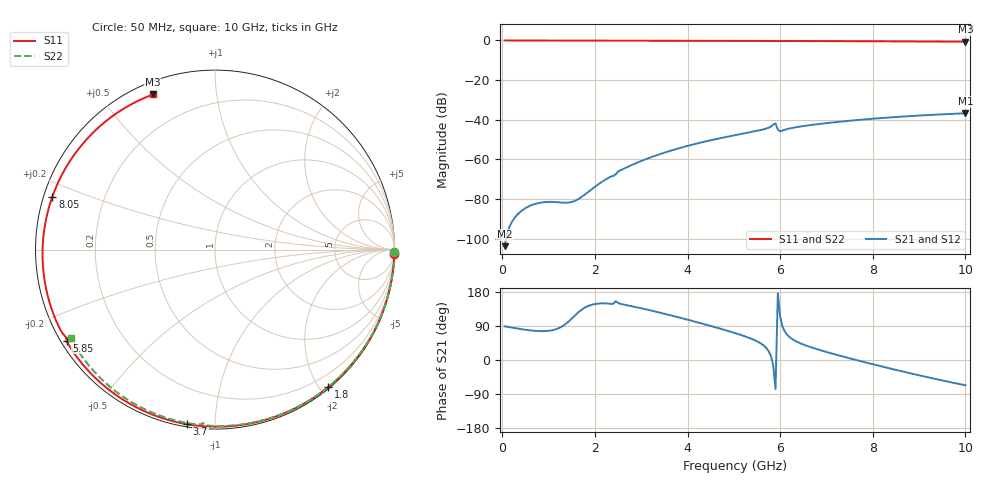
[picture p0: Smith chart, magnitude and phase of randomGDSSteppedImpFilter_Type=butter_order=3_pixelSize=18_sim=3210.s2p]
! freq	dB(S11)	phase(S11)	dB(S12)	phase(S12)
!  dB(S21)	phase(S21)	dB(S22)	phase(S22)
!S-par simulation data
#  GHz  S  DB  R 50
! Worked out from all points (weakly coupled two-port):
!   200 points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, 50 MHz to 10 GHz, reference 50 ohm
!   highest |S21| = -36.73 dB at 10 GHz (marker M1); lowest = -103.7 dB at 50 MHz (marker M2)
!   lowest |S11| = -0.6 dB at 10 GHz (marker M3), VSWR 27.98, Z = 2.6 + j33.8 ohm
!   |S11| at or under -10 dB: nowhere
!   |S22| runs from -0.5 to 0.0 dB; largest |S21 - S12| = 0
!   S11 on the Smith chart (normalised r, x): 50 MHz: 0, -79; 1.8 GHz: 0.02, -2.11; 3.7 GHz: 0.01, -0.85; 5.85 GHz: 0.02, -0.28; 8.05 GHz: 0.02, +0.16; 10 GHz: 0.05, +0.68
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0.05  -0.00 -1.5  -103.74 88.9  -103.74 88.9  -0.00 -0.9
0.8  -0.03 -22.9  -81.91 76.2  -81.91 76.2  -0.02 -13.7
1.6  -0.06 -45.2  -80.54 121.3  -80.54 121.3  -0.03 -27.2
1.75  -0.06 -49.3  -78.28 135.8  -78.28 135.8  -0.04 -29.7
1.8  -0.06 -50.6  -77.40 139.4  -77.40 139.4  -0.04 -30.5
2.45  -0.09 -67.9  -67.48 155.4  -67.48 155.4  -0.05 -41.2
2.5  -0.09 -69.2  -66.09 150.7  -66.09 150.7  -0.05 -42.1
3.4  -0.12 -91.8  -57.35 125.1  -57.35 125.1  -0.08 -56.4
3.7  -0.13 -99.1  -55.14 116.0  -55.14 116.0  -0.08 -61.1
4.35  -0.16 -114.4  -51.14 94.9  -51.14 94.9  -0.10 -71.1
5.05  -0.19 -130.3  -47.66 70.1  -47.66 70.1  -0.13 -81.5
5.65  -0.23 -143.8  -44.77 37.7  -44.77 37.7  -0.15 -90.2
5.85  -0.27 -148.5  -42.49 -14.2  -42.49 -14.2  -0.20 -93.4
5.9  -0.32 -149.5  -41.84 -76.7  -41.84 -76.7  -0.29 -94.0
5.95  -0.31 -150.1  -45.01 176.4  -45.01 176.4  -0.26 -93.9
6  -0.27 -151.3  -45.84 114.3  -45.84 114.3  -0.21 -94.6
6.7  -0.30 -167.0  -42.53 32.3  -42.53 32.3  -0.21 -104.7
7.4  -0.36 177.1  -40.71 7.7  -40.71 7.7  -0.25 -114.2
8.05  -0.42 161.9  -39.37 -12.7  -39.37 -12.7  -0.30 -122.9
8.35  -0.45 154.7  -38.84 -21.7  -38.84 -21.7  -0.33 -126.8
9.15  -0.53 134.7  -37.67 -44.5  -37.67 -44.5  -0.41 -137.4
10  -0.62 111.8  -36.73 -66.6  -36.73 -66.6  -0.51 -148.6
